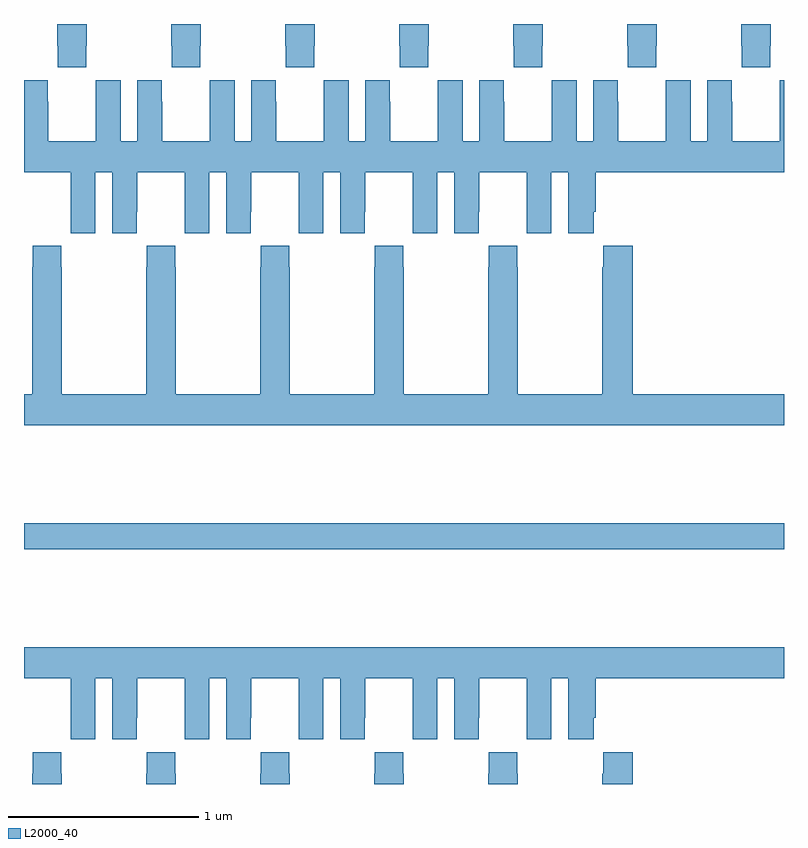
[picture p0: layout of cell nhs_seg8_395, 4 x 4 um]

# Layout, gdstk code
import gdstk
lib = gdstk.Library(unit=1e-6, precision=1e-09)
def R(c, l, rs):  # rectangles x0, y0, x1, y1
    for r in rs: c.add(gdstk.rectangle(r[:2], r[2:], *l))
def P(c, l, *ps):  # polygons
    for p in ps: c.add(gdstk.Polygon(p, *l))
L2000_40 = (2000, 40)

nhs_seg8_395 = lib.new_cell('nhs_seg8_395')
R(nhs_seg8_395, L2000_40, [(135,1161.136,139,1161.272)])
P(nhs_seg8_395, L2000_40, [(138.927,1163.785),(138.93,1163.785),(138.93,1163.9),(138.775,1163.9),(138.775,1163.785),(138.777,1163.785),(138.777,1163.673),(138.927,1163.673)],
  [(135.175,1163.785),(135.177,1163.785),(135.177,1163.673),(135.327,1163.673),(135.327,1163.785),(135.33,1163.785),(135.33,1163.9),(135.175,1163.9)],
  [(135.927,1163.785),(135.93,1163.785),(135.93,1163.9),(135.775,1163.9),(135.775,1163.785),(135.777,1163.785),(135.777,1163.673),(135.927,1163.673)],
  [(136.527,1163.785),(136.53,1163.785),(136.53,1163.9),(136.375,1163.9),(136.375,1163.785),(136.377,1163.785),(136.377,1163.673),(136.527,1163.673)],
  [(137.727,1163.785),(137.73,1163.785),(137.73,1163.9),(137.575,1163.9),(137.575,1163.785),(137.577,1163.785),(137.577,1163.673),(137.727,1163.673)],
  [(138.327,1163.785),(138.33,1163.785),(138.33,1163.9),(138.175,1163.9),(138.175,1163.785),(138.177,1163.785),(138.177,1163.673),(138.327,1163.673)],
  [(137.127,1163.785),(137.13,1163.785),(137.13,1163.9),(136.975,1163.9),(136.975,1163.785),(136.977,1163.785),(136.977,1163.673),(137.127,1163.673)],
  [(135.376,1163.12),(135.464,1163.12),(135.464,1162.8),(135.594,1162.8),(135.594,1162.912),(135.595,1162.912),(135.595,1163.12),(135.845,1163.12),(135.845,1162.912),(135.846,1162.912),(135.846,1162.8),(135.976,1162.8),(135.976,1163.12),(136.064,1163.12),(136.064,1162.8),(136.194,1162.8),(136.194,1162.912),(136.195,1162.912),(136.195,1163.12),(136.445,1163.12),(136.445,1162.912),(136.446,1162.912),(136.446,1162.8),(136.576,1162.8),(136.576,1163.12),(136.664,1163.12),(136.664,1162.8),(136.794,1162.8),(136.794,1162.912),(136.795,1162.912),(136.795,1163.12),(137.045,1163.12),(137.045,1162.912),(137.046,1162.912),(137.046,1162.8),(137.176,1162.8),(137.176,1163.12),(137.264,1163.12),(137.264,1162.8),(137.394,1162.8),(137.394,1162.912),(137.395,1162.912),(137.395,1163.12),(137.645,1163.12),(137.645,1162.912),(137.646,1162.912),(137.646,1162.8),(137.776,1162.8),(137.776,1163.12),(137.864,1163.12),(137.864,1162.8),(137.998,1162.8),(137.998,1162.912),(138.008,1162.912),(138.008,1163.12),(139,1163.12),(139,1163.605),(138.978,1163.605),(138.978,1163.492),(138.977,1163.492),(138.977,1163.284),(138.727,1163.284),(138.727,1163.492),(138.726,1163.492),(138.726,1163.605),(138.596,1163.605),(138.596,1163.284),(138.508,1163.284),(138.508,1163.605),(138.378,1163.605),(138.378,1163.492),(138.377,1163.492),(138.377,1163.284),(138.127,1163.284),(138.127,1163.492),(138.126,1163.492),(138.126,1163.605),(137.996,1163.605),(137.996,1163.284),(137.908,1163.284),(137.908,1163.605),(137.778,1163.605),(137.778,1163.492),(137.777,1163.492),(137.777,1163.284),(137.527,1163.284),(137.527,1163.492),(137.526,1163.492),(137.526,1163.605),(137.396,1163.605),(137.396,1163.284),(137.308,1163.284),(137.308,1163.605),(137.178,1163.605),(137.178,1163.492),(137.177,1163.492),(137.177,1163.284),(136.927,1163.284),(136.927,1163.492),(136.926,1163.492),(136.926,1163.605),(136.796,1163.605),(136.796,1163.284),(136.708,1163.284),(136.708,1163.605),(136.578,1163.605),(136.578,1163.492),(136.577,1163.492),(136.577,1163.284),(136.327,1163.284),(136.327,1163.492),(136.326,1163.492),(136.326,1163.605),(136.196,1163.605),(136.196,1163.284),(136.108,1163.284),(136.108,1163.605),(135.978,1163.605),(135.978,1163.492),(135.977,1163.492),(135.977,1163.284),(135.727,1163.284),(135.727,1163.492),(135.726,1163.492),(135.726,1163.605),(135.596,1163.605),(135.596,1163.284),(135.508,1163.284),(135.508,1163.605),(135.378,1163.605),(135.378,1163.492),(135.377,1163.492),(135.377,1163.284),(135.127,1163.284),(135.127,1163.492),(135.126,1163.492),(135.126,1163.605),(135,1163.605),(135,1163.12),(135.245,1163.12),(135.245,1162.912),(135.246,1162.912),(135.246,1162.8),(135.376,1162.8)],
  [(139,1161.952),(138.203,1161.952),(138.203,1162.732),(138.049,1162.732),(138.049,1162.619),(138.043,1162.619),(138.043,1161.952),(137.598,1161.952),(137.598,1162.619),(137.595,1162.619),(137.595,1162.732),(137.445,1162.732),(137.445,1162.619),(137.443,1162.619),(137.443,1161.952),(136.998,1161.952),(136.998,1162.619),(136.995,1162.619),(136.995,1162.732),(136.845,1162.732),(136.845,1162.619),(136.843,1162.619),(136.843,1161.952),(136.398,1161.952),(136.398,1162.619),(136.395,1162.619),(136.395,1162.732),(136.245,1162.732),(136.245,1162.619),(136.243,1162.619),(136.243,1161.952),(135.798,1161.952),(135.798,1162.619),(135.795,1162.619),(135.795,1162.732),(135.645,1162.732),(135.645,1162.619),(135.643,1162.619),(135.643,1161.952),(135.198,1161.952),(135.198,1162.619),(135.195,1162.619),(135.195,1162.732),(135.045,1162.732),(135.045,1162.619),(135.043,1162.619),(135.043,1161.952),(135,1161.952),(135,1161.788),(139,1161.788)],
  [(135.376,1160.456),(135.464,1160.456),(135.464,1160.136),(135.594,1160.136),(135.594,1160.248),(135.595,1160.248),(135.595,1160.456),(135.845,1160.456),(135.845,1160.248),(135.846,1160.248),(135.846,1160.136),(135.976,1160.136),(135.976,1160.456),(136.064,1160.456),(136.064,1160.136),(136.194,1160.136),(136.194,1160.248),(136.195,1160.248),(136.195,1160.456),(136.445,1160.456),(136.445,1160.248),(136.446,1160.248),(136.446,1160.136),(136.576,1160.136),(136.576,1160.456),(136.664,1160.456),(136.664,1160.136),(136.794,1160.136),(136.794,1160.248),(136.795,1160.248),(136.795,1160.456),(137.045,1160.456),(137.045,1160.248),(137.046,1160.248),(137.046,1160.136),(137.176,1160.136),(137.176,1160.456),(137.264,1160.456),(137.264,1160.136),(137.394,1160.136),(137.394,1160.248),(137.395,1160.248),(137.395,1160.456),(137.645,1160.456),(137.645,1160.248),(137.646,1160.248),(137.646,1160.136),(137.776,1160.136),(137.776,1160.456),(137.864,1160.456),(137.864,1160.136),(137.998,1160.136),(137.998,1160.248),(138.008,1160.248),(138.008,1160.456),(139,1160.456),(139,1160.62),(135,1160.62),(135,1160.456),(135.245,1160.456),(135.245,1160.248),(135.246,1160.248),(135.246,1160.136),(135.376,1160.136)],
  [(138.203,1160.068),(138.049,1160.068),(138.049,1159.955),(138.043,1159.955),(138.043,1159.9),(138.203,1159.9)],
  [(137.598,1159.955),(137.595,1159.955),(137.595,1160.068),(137.445,1160.068),(137.445,1159.955),(137.443,1159.955),(137.443,1159.9),(137.598,1159.9)],
  [(136.998,1159.955),(136.995,1159.955),(136.995,1160.068),(136.845,1160.068),(136.845,1159.955),(136.843,1159.955),(136.843,1159.9),(136.998,1159.9)],
  [(136.398,1159.955),(136.395,1159.955),(136.395,1160.068),(136.245,1160.068),(136.245,1159.955),(136.243,1159.955),(136.243,1159.9),(136.398,1159.9)],
  [(135.798,1159.955),(135.795,1159.955),(135.795,1160.068),(135.645,1160.068),(135.645,1159.955),(135.643,1159.955),(135.643,1159.9),(135.798,1159.9)],
  [(135.045,1160.068),(135.045,1159.955),(135.043,1159.955),(135.043,1159.9),(135.198,1159.9),(135.198,1159.955),(135.195,1159.955),(135.195,1160.068)])

lib.write_gds('nhs_seg8_395.gds')
